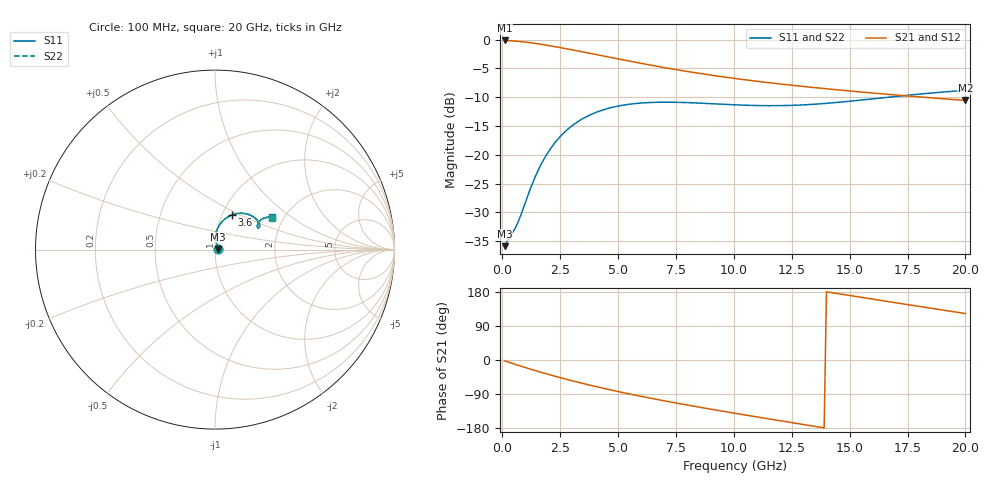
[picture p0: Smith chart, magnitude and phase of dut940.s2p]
! Touchstone file exported from HFSS 2024.1.0
!  File:  C:/UserFiles/LocalFiles/RDL_TSV_Batchsim/temp_RDL_TSV_940_1779962972.aedt
!  Generated:  06:23:58 PM May 28, 2026
!  Design:  RDL_TSV
!  Project:  temp_RDL_TSV_940_1779962972
!  Setup:  Setup1
!  Solution:  Sweep
! Variables:
!  dtsv = 12.2um
!  hbump = 3um
!  htsv = 51.5um
!  ldown = 495.07um
!  lrdl = 576.06um
!  p = 40
!  p1 = 55.08um
!  rhole = 10um
!  subl = 3789.45um
!  t = 450um
!  tdown = 3.16um
!  trdl = 4.21um
!  viad = 10um
!  wdown = 26.04um
!  wrdl = 22.43um
!  xbump = 18um
# GHz S MA R 50.000000
! Terminal data exported
! Port[1] = TM1_1_T1
! Port[2] = TM1_4_T1
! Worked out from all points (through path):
!   200 points, 100 MHz to 20 GHz, reference 50 ohm
!   highest |S21| = -0.14 dB at 100 MHz (marker M1); lowest = -10.6 dB at 20 GHz (marker M2)
!   group delay of S21, straight-line fit = 31.1 ps
!   lowest |S11| = -35.9 dB at 100 MHz (marker M3), VSWR 1.03, Z = 51.6 + j0.405 ohm
!   |S11| at or under -10 dB: start of sweep to 16.68 GHz
!   |S22| runs from -35.9 to -8.8 dB; largest |S21 - S12| = 1.4e-14
!   S11 on the Smith chart (normalised r, x): 100 MHz: 1.03, +0.01; 3.6 GHz: 1.11, +0.45; 20 GHz: 1.73, +0.72
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0.1  0.01607 14.1  0.9839 -2.1  0.9839 -2.1  0.01607 14.1
! Gamma 0 0 0 0
! Port Impedance 50 0 50 0
0.6  0.02396 56.2  0.9702 -12.3  0.9702 -12.3  0.02395 56.2
1  0.03871 79.3  0.9519 -20.1  0.9519 -20.1  0.03874 79.4
1.4  0.06285 86.8  0.9287 -27.6  0.9287 -27.6  0.06294 86.9
1.9  0.09922 85.6  0.8955 -36.5  0.8955 -36.5  0.09939 85.6
2.2  0.1218 82.5  0.8745 -41.6  0.8745 -41.6  0.122 82.6
2.6  0.151 77.6  0.8458 -48.2  0.8458 -48.2  0.1513 77.6
3  0.1779 72.2  0.8169 -54.6  0.8169 -54.6  0.1783 72.3
3.5  0.2073 65.6  0.7812 -62.2  0.7812 -62.2  0.2078 65.7
3.6  0.2126 64.4  0.7741 -63.7  0.7741 -63.7  0.213 64.4
4.3  0.2435 56.0  0.7259 -73.8  0.7259 -73.8  0.2441 56.0
5.2  0.2693 46.8  0.6684 -85.9  0.6684 -85.9  0.2701 46.8
6  0.2814 40.1  0.6222 -96.0  0.6222 -96.0  0.2824 40.2
6.8  0.286 34.9  0.5812 -105.5  0.5812 -105.5  0.2871 35.0
8.4  0.2817 28.4  0.5133 -123.4  0.5133 -123.4  0.283 28.4
10.1  0.2712 26.3  0.4584 -141.2  0.4584 -141.2  0.2727 26.2
11.7  0.2668 27.6  0.4185 -157.3  0.4185 -157.3  0.2684 27.5
13.4  0.2741 30.5  0.3846 -174.1  0.3846 -174.1  0.2754 30.2
15  0.2916 32.6  0.3582 170.2  0.3582 170.2  0.2926 32.3
16.7  0.3166 33.1  0.3342 153.8  0.3342 153.8  0.3172 32.8
18.3  0.3406 32.0  0.3147 138.6  0.3147 138.6  0.3409 31.7
20  0.3627 29.8  0.2967 122.6  0.2967 122.6  0.3626 29.5
